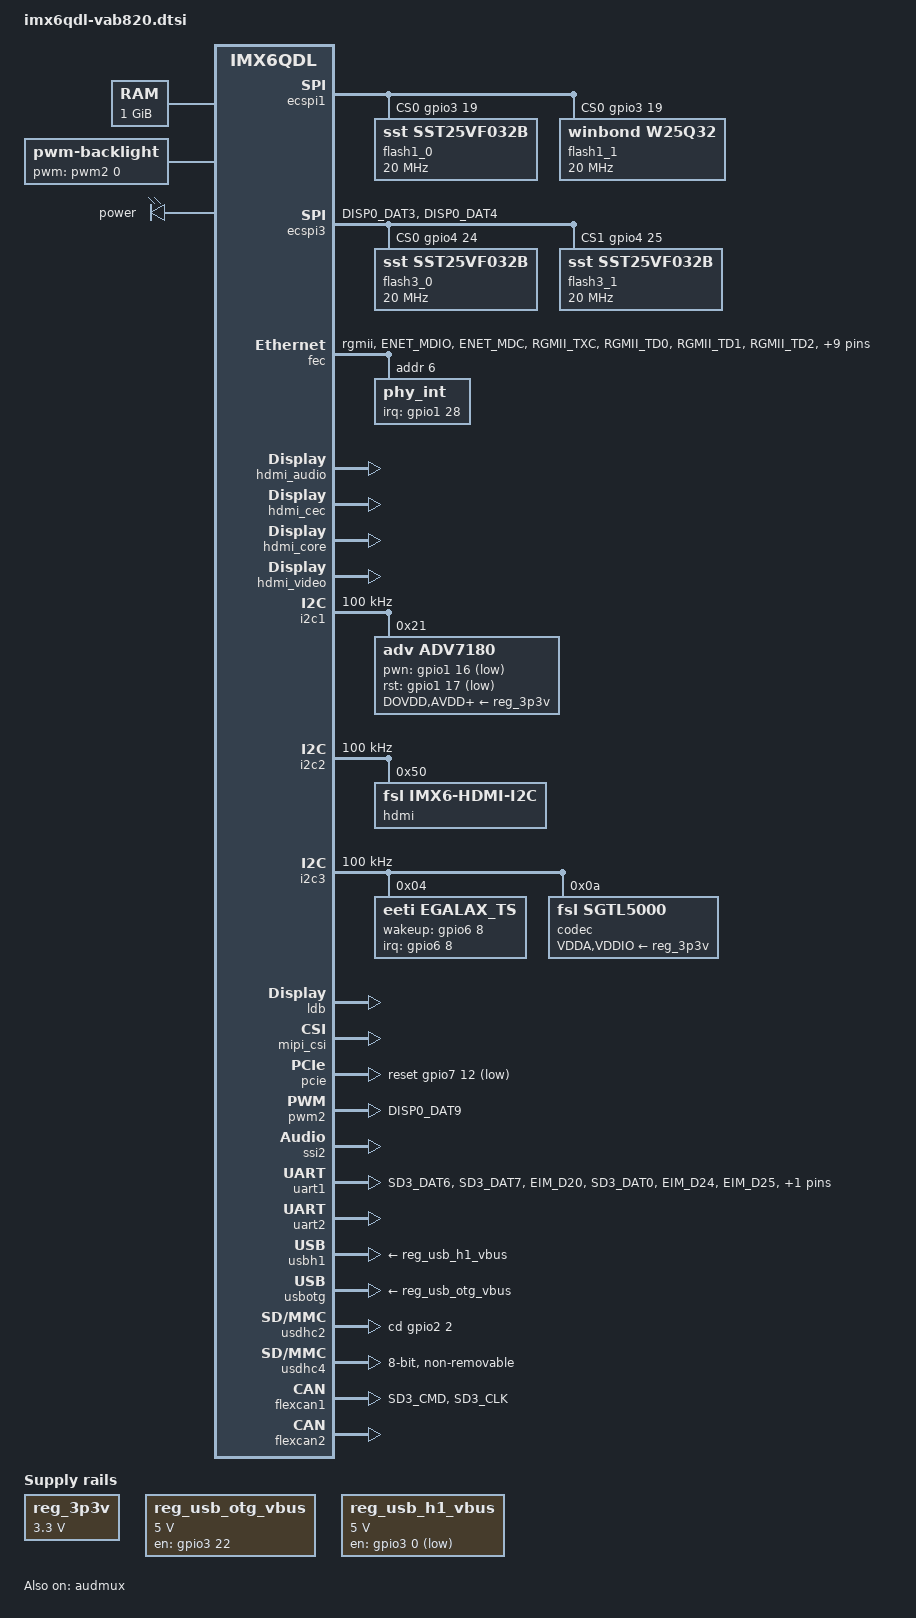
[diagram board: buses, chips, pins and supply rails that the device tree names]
/*
 * Copyright 2012 Freescale Semiconductor, Inc.
 * Copyright 2011 Linaro Ltd.
 *
 * The code contained herein is licensed under the GNU General Public
 * License. You may obtain a copy of the GNU General Public License
 * Version 2 or later at the following locations:
 *
 * http://www.opensource.org/licenses/gpl-license.html
 * http://www.gnu.org/copyleft/gpl.html
 */

#include <dt-bindings/interrupt-controller/irq.h>

/ {
	aliases {
		mmc0 = &usdhc4;
		mmc1 = &usdhc2;
		mxcfb0 = &mxcfb1;
		mxcfb1 = &mxcfb2;
		mxcfb2 = &mxcfb3;
		mxcfb3 = &mxcfb4;
	};

	memory {
		reg = <0x10000000 0x40000000>;
	};

	hannstar_cabc {
		compatible = "hannstar,cabc";

		lvds0 {
			gpios = <&gpio6 15 GPIO_ACTIVE_HIGH>;
		};
	};

	regulators {
		compatible = "simple-bus";

		reg_3p3v: 3p3v {
			compatible = "regulator-fixed";
			regulator-name = "3P3V";
			regulator-min-microvolt = <3300000>;
			regulator-max-microvolt = <3300000>;
			regulator-always-on;
		};

		reg_usb_otg_vbus: usb_otg_vbus {
			compatible = "regulator-fixed";
			regulator-name = "usb_otg_vbus";
			regulator-min-microvolt = <5000000>;
			regulator-max-microvolt = <5000000>;
			gpio = <&gpio3 22 0>;
			enable-active-high;
		};

		reg_usb_h1_vbus: usb_h1_vbus {
			compatible = "regulator-fixed";
			regulator-name = "usb_h1_vbus";
			regulator-min-microvolt = <5000000>;
			regulator-max-microvolt = <5000000>;
			gpio = <&gpio3 0 1>; /* VAB-820 - low enable*/ 

			/* SDB - high enable
			gpio = <&gpio1 29 0>;
			enable-active-high; */
		};
	}; 

	/* VAB-820 - copied from imx6q-sabrelite.dts */
	sound {
		compatible = "fsl,imx6q-vab820-sgtl5000",
			     "fsl,imx-audio-sgtl5000";
		model = "imx6q-vab820-sgtl5000";
		ssi-controller = <&ssi2>;
		audio-codec = <&codec>;
		audio-routing =
			"MIC_IN", "Mic Jack",
			"Mic Jack", "Mic Bias",
			"Headphone Jack", "HP_OUT";
		mux-int-port = <2>;
		mux-ext-port = <4>;
	};

	sound-hdmi {
		compatible = "fsl,imx6q-audio-hdmi",
			     "fsl,imx-audio-hdmi";
		model = "imx-audio-hdmi";
		hdmi-controller = <&hdmi_audio>;
	};

	mxcfb1: fb@0 {
		compatible = "fsl,mxc_sdc_fb";
		disp_dev = "lcd";
		interface_pix_fmt = "RGB666";
		mode_str ="LDB-XGA";
		default_bpp = <16>;
		int_clk = <0>;
		late_init = <0>;
		status = "disabled";
	};

	mxcfb2: fb@1 {
		compatible = "fsl,mxc_sdc_fb";
		disp_dev = "lcd";
		interface_pix_fmt = "RGB565";
		mode_str ="CLAA-WVGA";
		default_bpp = <16>;
		int_clk = <0>;
		late_init = <0>;
		status = "disabled";
	};

	mxcfb3: fb@2 {
		compatible = "fsl,mxc_sdc_fb";
		disp_dev = "lcd";
		interface_pix_fmt = "RGB666";
		mode_str ="LDB-SVGA";
		default_bpp = <16>;
		int_clk = <0>;
		late_init = <0>;
		status = "disabled";
	};

	mxcfb4: fb@3 {
		compatible = "fsl,mxc_sdc_fb";
		disp_dev = "lcd";
		interface_pix_fmt = "RGB666";
		mode_str ="LDB-VGA";
		default_bpp = <16>;
		int_clk = <0>;
		late_init = <0>;
		status = "disabled";
	};

	backlight {
		compatible = "pwm-backlight";
		pwms = <&pwm2 0 5000000>; /*VAB-820*/  /*SDB - <&pwm1 0 5000000>;*/
		brightness-levels = <0 4 8 16 32 64 128 255>;
		default-brightness-level = <7>;
	};

	v4l2_cap_0 {
		compatible = "fsl,imx6q-v4l2-capture";
		ipu_id = <0>;
		csi_id = <0>;
		mclk_source = <0>;
		status = "okay";
	};

	v4l2_cap_1 {
		compatible = "fsl,imx6q-v4l2-capture";
		ipu_id = <0>;
		csi_id = <1>;
		mclk_source = <0>;
		status = "okay";
	};

	v4l2_out {
		compatible = "fsl,mxc_v4l2_output";
		status = "okay";
	};

	leds {
		compatible = "gpio-leds";
		power {
			power-led-gpio = <&gpio4 5 0>;
		};
	};

};

&audmux {
	pinctrl-names = "default";
	pinctrl-0 = <&pinctrl_audmux_4>; /*VAB-820*/  /*SDB - <&pinctrl_audmux_2>;*/
	status = "okay";
};

/*VAB-820*/
#if 0
&cpu0 { 
	arm-supply = <&sw1a_reg>;
	soc-supply = <&sw1c_reg>;
	pu-supply = <&pu_dummy>; /* use pu_dummy if VDDSOC share with VDDPU */
};
#endif

&ecspi1 {
	fsl,spi-num-chipselects = <1>;
	cs-gpios = <&gpio3 19 0>; 	 /*VAB-820*/  /*SDB - <&gpio4 9 0>;*/
	pinctrl-names = "default";
	pinctrl-0 = <&pinctrl_ecspi1_1 &pinctrl_ecspi1_cs_1>; /*VAB-820 - copied from imx6qdl-sabreauto.dtsi*/  
							      /*SDB-<&pinctrl_ecspi1_2>;*/
	status = "okay";

	flash1_0: m25p80@0 {
		#address-cells = <1>;
		#size-cells = <1>;
		compatible = "sst,sst25vf032b"; /*VAB-820*/  /*SDB - "st,m25p32";*/
		spi-max-frequency = <20000000>;
		reg = <0>;
	};

	flash1_1: m25p80@0 {
		#address-cells = <1>;
		#size-cells = <1>;
		compatible = "winbond,w25q32";
		spi-max-frequency = <20000000>;
		reg = <0>; /*Chip-Select number*/
	};

};

/*VAB-820*/
#if 1
&ecspi3 {
	fsl,spi-num-chipselects = <2>;
	cs-gpios = <&gpio4 24 0>, <&gpio4 25 0>;
	pinctrl-names = "default";
	pinctrl-0 = <&pinctrl_ecspi3_1 &pinctrl_ecspi3_cs_1 &pinctrl_ecspi3_cs_2>;
	status = "okay";

	flash3_0: m25p80@0 {
		#address-cells = <1>;
		#size-cells = <1>;
		compatible = "sst,sst25vf032b";
		spi-max-frequency = <20000000>;
		reg = <0>; /*Chip-Select number*/
	};

	flash3_1: m25p80@1 {
		#address-cells = <1>;
		#size-cells = <1>;
		compatible = "sst,sst25vf032b";
		spi-max-frequency = <20000000>;
		reg = <1>; /*Chip-Select number*/
	};

};
#endif

#if 0
&fec {
	pinctrl-names = "default";
	pinctrl-0 = <&pinctrl_enet_3>;   /*VAB-820*/  /*SDB - <&pinctrl_enet_1>;*/
	phy-mode = "rgmii";
	phy-reset-gpios = <&gpio1 28 0>; /*VAB-820*/
	status = "okay";
};
#endif
/* VAB-820 : copied from Boundary's SabreLite  */
&fec {
	pinctrl-names = "default";
	pinctrl-0 = <&pinctrl_enet_4>;
	phy-mode = "rgmii";
	status = "okay";

	#address-cells = <0>;
	#size-cells = <1>;

	phy_int {
		reg = <0x6>;
		interrupt-parent = <&gpio1>;
		interrupts = <28 IRQ_TYPE_LEVEL_LOW>;
	};
};

&hdmi_audio {
	status = "okay";
};

&hdmi_cec {
	pinctrl-names = "default";
	pinctrl-0 = <&pinctrl_hdmi_cec_2>;
	status = "okay";
};

&hdmi_core {
	ipu_id = <0>;
	disp_id = <0>;
	status = "okay";
};

&hdmi_video {
	fsl,phy_reg_vlev = <0x0294>;
	fsl,phy_reg_cksymtx = <0x800d>;
	status = "okay";
};

&i2c1 {
	clock-frequency = <100000>;
	pinctrl-names = "default";
	pinctrl-0 = <&pinctrl_i2c1_2>;
	status = "okay";

	/* VAB-820 - copied from imx6qdl-sabreauto.dtsi */
	adv7180: adv7180@21 {
		compatible = "adv,adv7180";
		reg = <0x21>;
		pinctrl-names = "default";
		pinctrl-0 = <&pinctrl_ipu1_4>; /*VAB-820*/  /*AI - <&pinctrl_ipu1_3>;*/
		clocks = <&clks 201>;
		clock-names = "csi_mclk";
		DOVDD-supply = <&reg_3p3v>; /* 3.3v, enabled via 2.8 VGEN6 */
		AVDD-supply = <&reg_3p3v>;  /* 1.8v */
		DVDD-supply = <&reg_3p3v>;  /* 1.8v */
		PVDD-supply = <&reg_3p3v>;  /* 1.8v */
		pwn-gpios = <&gpio1 16 GPIO_ACTIVE_LOW>; /*VAB-820*/  /*AI - <&max7310_b 2 0>;*/
		rst-gpios = <&gpio1 17 GPIO_ACTIVE_LOW>; /*VAB-820*/
		csi_id = <0>;
		mclk = <24000000>;
		mclk_source = <0>;
		cvbs = <1>;
	};

};

&i2c2 {
	clock-frequency = <100000>;
	pinctrl-names = "default";
	pinctrl-0 = <&pinctrl_i2c2_2>;
	status = "okay";

	hdmi: edid@50 {
		compatible = "fsl,imx6-hdmi-i2c";
		reg = <0x50>;
	};
};

&i2c3 {
        clock-frequency = <100000>;
        pinctrl-names = "default";
        pinctrl-0 = <&pinctrl_i2c3_2>;
        status = "okay";

        egalax_ts@04 {
                compatible = "eeti,egalax_ts";
                reg = <0x04>;
                interrupt-parent = <&gpio6>;
                interrupts = <8 2>;
                wakeup-gpios = <&gpio6 8 0>;
        };

	/*VAB-820 - copied from imx6q-sabrelite.dts*/
	codec: sgtl5000@0a {
		compatible = "fsl,sgtl5000";
		reg = <0x0a>;
		clocks = <&clks 201>;
		VDDA-supply = <&reg_3p3v>;/*VAB-820*/ /*SBL - <&reg_2p5v>;*/
		VDDIO-supply = <&reg_3p3v>;
	};
};


&ldb {
	ipu_id = <1>;
	disp_id = <0>;
	ext_ref = <1>;
	mode = "sep0";
	sec_ipu_id = <1>;
	sec_disp_id = <1>;
	status = "okay";
};

&mipi_csi {
	status = "okay";
	ipu_id = <0>;
	csi_id = <1>;
	v_channel = <0>;
	lanes = <2>;
};

&pcie {
	power-on-gpio = <&gpio1 19 0>; /*VAB-820*/  /*SDB - <&gpio3 19 0>;*/
	reset-gpio = <&gpio7 12 GPIO_ACTIVE_LOW>;
	wake-up-gpio = <&gpio5 20 GPIO_ACTIVE_LOW>;
	disable-gpio = <&gpio4 9 0>;
	status = "okay";
};

&pwm2 {
	pinctrl-names = "default";
	pinctrl-0 = <&pinctrl_pwm2_1>;
	status = "okay";
};

&ssi2 {
	fsl,mode = "i2s-slave";
	status = "okay";
};


&uart1 {
	pinctrl-names = "default";
	pinctrl-0 = <&pinctrl_uart1_vab820>;
	status = "okay";
	fsl,uart-has-rtscts;
	fsl,dte-mode;
};


&uart2 { 
	pinctrl-names = "default";
	pinctrl-0 = <&pinctrl_uart2_1>;
	status = "okay";
}; 


&usbh1 {
	vbus-supply = <&reg_usb_h1_vbus>;
	pinctrl-1 = <&pinctrl_usbh1_1>;
	status = "okay";
};

&usbotg {
	vbus-supply = <&reg_usb_otg_vbus>;
	pinctrl-names = "default";
	pinctrl-0 = <&pinctrl_usbotg_2>;
	disable-over-current;
	status = "okay";
};

&usdhc2 {
	pinctrl-names = "default";
	pinctrl-0 = <&pinctrl_usdhc2_2>;  /* VAB-820 */ /*pinctrl-0 = <&pinctrl_usdhc2_1>;*/
	cd-gpios = <&gpio2 2 0>;
	/*SDB - wp-gpios = <&gpio2 3 0>;*/
	no-1-8-v;
	keep-power-in-suspend;
	enable-sdio-wakeup;
	status = "okay";
};

&usdhc4 {
        pinctrl-names = "default";
        pinctrl-0 = <&pinctrl_usdhc4_1>;
        bus-width = <8>;
        non-removable;
        no-1-8-v;
	keep-power-in-suspend;
        status = "okay";
};

&flexcan1 {
	pinctrl-names = "default";
	pinctrl-0 = <&pinctrl_flexcan1_vab820>;
	status = "okay";
};

&flexcan2 {
	pinctrl-names = "default";
	pinctrl-0 = <&pinctrl_flexcan2_1>;
	status = "okay";
};


&iomuxc {
	pinctrl-names = "default";
	pinctrl-0 = <&pinctrl_hog_1>;

	uart1 {
		pinctrl_uart1_vab820: uart1grp-2 {
			fsl,pins = <
				MX6QDL_PAD_SD3_DAT6__UART1_TX_DATA 0x80000000
				MX6QDL_PAD_SD3_DAT7__UART1_RX_DATA 0x80000000
				MX6QDL_PAD_EIM_D20__UART1_CTS_B	0x80000000
				MX6QDL_PAD_SD3_DAT0__UART1_RTS_B 0x130b0
				MX6QDL_PAD_EIM_D24__UART1_DTR_B 0x130b0
				MX6QDL_PAD_EIM_D25__UART1_DSR_B 0x80000000
				MX6QDL_PAD_EIM_D23__UART1_DCD_B 0x80000000
				//MX6QDL_PAD_EIM_EB3__UART1_RI_B 0x80000000
			>;
		};
	};

	flexcan1 {
		pinctrl_flexcan1_vab820: flexcan1grp-3 {
			fsl,pins = <
				MX6QDL_PAD_SD3_CMD__FLEXCAN1_TX 0x80000000
				MX6QDL_PAD_SD3_CLK__FLEXCAN1_RX 0x80000000
			>;
		};
	};

	hog {
		pinctrl_hog_1: hoggrp-1 {
			fsl,pins = <
				MX6QDL_PAD_GPIO_1__GPIO1_IO01   0x80000000
				MX6QDL_PAD_GPIO_2__GPIO1_IO02   0x80000000
				MX6QDL_PAD_GPIO_4__GPIO1_IO04	0x80000000
				MX6QDL_PAD_GPIO_5__GPIO1_IO05	0x80000000
				MX6QDL_PAD_GPIO_7__GPIO1_IO07	0x80000000
				MX6QDL_PAD_GPIO_8__GPIO1_IO08	0x80000000
				MX6QDL_PAD_GPIO_9__GPIO1_IO09	0x80000000
				MX6QDL_PAD_SD1_DAT0__GPIO1_IO16 0x80000000
				MX6QDL_PAD_SD1_DAT1__GPIO1_IO17 0x80000000
				/*MX6QDL_PAD_SD1_DAT2__GPIO1_IO19 0x80000000	/*MX6Q_SABRELITE_PCIE_CSI_PWN*/
				MX6QDL_PAD_ENET_TX_EN__GPIO1_IO28 0x1b0b0 	/* ethernet phy interrupt - copied from boundary */
				MX6QDL_PAD_NANDF_D2__GPIO2_IO02 0x80000000

				MX6QDL_PAD_EIM_DA0__GPIO3_IO00  0x80000000
				/*MX6QDL_PAD_EIM_D19__GPIO3_IO19  0x80000000*/ 	/*defined in &pinctrl_ecspi1_cs_1*/
				MX6QDL_PAD_EIM_D22__GPIO3_IO22  0x80000000
				MX6QDL_PAD_EIM_D28__GPIO3_IO28  0x80000000
				MX6QDL_PAD_GPIO_19__GPIO4_IO05  0x80000000
				/*MX6QDL_PAD_KEY_ROW1__GPIO4_IO09 0x80000000	/*MX6Q_SABRELITE_PCIE_DIS_B*/
				/*MX6QDL_PAD_DISP0_DAT3__GPIO4_IO24 0x80000000  /*MX6QDL_PAD_DISP0_DAT3__ECSPI3_SS0 ????*/
				/*MX6QDL_PAD_DISP0_DAT4__GPIO4_IO25 0x80000000  /*MX6QDL_PAD_DISP0_DAT4__ECSPI3_SS1 ????*/

				/*MX6QDL_PAD_CSI0_DATA_EN__GPIO5_IO20 0x80000000/*MX6Q_SABRELITE_PCIE_WAKE_B*/
				MX6QDL_PAD_NANDF_ALE__GPIO6_IO08 0x80000000

				MX6QDL_PAD_NANDF_CS2__GPIO6_IO15 0x80000000
				MX6QDL_PAD_GPIO_16__GPIO7_IO11   0x80000000
				/*MX6QDL_PAD_GPIO_17__GPIO7_IO12  0x80000000	/*MX6Q_SABRELITE_PCIE_RST_B*/
				MX6QDL_PAD_GPIO_18__GPIO7_IO13 0x80000000

				MX6QDL_PAD_GPIO_0__CCM_CLKO1 0x000b0 		/* SGTL5000 sys_mclk : copied from boundary */
			>;
		};
	};

	ecspi3 {
		pinctrl_ecspi3_cs_1: ecspi3_cs_grp-1 {
			fsl,pins = <
				MX6QDL_PAD_DISP0_DAT3__GPIO4_IO24 0x80000000
			>;
		};

		pinctrl_ecspi3_cs_2: ecspi3_cs_grp-2 {
			fsl,pins = <
				MX6QDL_PAD_DISP0_DAT4__GPIO4_IO25 0x80000000
			>;
		};
	};

	audmux {
		/* VAB-820 */
		pinctrl_audmux_4: audmux-4 {
			fsl,pins = <
				MX6QDL_PAD_DISP0_DAT20__AUD4_TXC  0x130b0
				MX6QDL_PAD_DISP0_DAT21__AUD4_TXD  0x110b0
				MX6QDL_PAD_DISP0_DAT22__AUD4_TXFS 0x130b0
				MX6QDL_PAD_DISP0_DAT23__AUD4_RXD  0x130b0
			>;
		};
	};

	enet {
		/* VAB-820 - remove ENET_TX_EN pin, set it as GPIO instead */
		pinctrl_enet_4: enetgrp-4 {
			fsl,pins = <
				MX6QDL_PAD_ENET_MDIO__ENET_MDIO       0x1b0b0
				MX6QDL_PAD_ENET_MDC__ENET_MDC         0x1b0b0
				MX6QDL_PAD_RGMII_TXC__RGMII_TXC       0x1b0b0
				MX6QDL_PAD_RGMII_TD0__RGMII_TD0       0x1b0b0
				MX6QDL_PAD_RGMII_TD1__RGMII_TD1       0x1b0b0
				MX6QDL_PAD_RGMII_TD2__RGMII_TD2       0x1b0b0
				MX6QDL_PAD_RGMII_TD3__RGMII_TD3       0x1b0b0
				MX6QDL_PAD_RGMII_TX_CTL__RGMII_TX_CTL 0x1b0b0
				MX6QDL_PAD_ENET_REF_CLK__ENET_TX_CLK  0x1b0b0
				MX6QDL_PAD_RGMII_RXC__RGMII_RXC       0x1b0b0
				MX6QDL_PAD_RGMII_RD0__RGMII_RD0       0x1b0b0
				MX6QDL_PAD_RGMII_RD1__RGMII_RD1       0x1b0b0
				MX6QDL_PAD_RGMII_RD2__RGMII_RD2       0x1b0b0
				MX6QDL_PAD_RGMII_RD3__RGMII_RD3       0x1b0b0
				MX6QDL_PAD_RGMII_RX_CTL__RGMII_RX_CTL 0x1b0b0
			>;
		};
	};

	ipu1 {
		pinctrl_ipu1_4: ipu1grp-4 { /* VAB-820 - parallel camera, remove CSI0_DATA_EN */
			fsl,pins = <
				MX6QDL_PAD_CSI0_DAT12__IPU1_CSI0_DATA12    0x80000000
				MX6QDL_PAD_CSI0_DAT13__IPU1_CSI0_DATA13    0x80000000
				MX6QDL_PAD_CSI0_DAT14__IPU1_CSI0_DATA14    0x80000000
				MX6QDL_PAD_CSI0_DAT15__IPU1_CSI0_DATA15    0x80000000
				MX6QDL_PAD_CSI0_DAT16__IPU1_CSI0_DATA16    0x80000000
				MX6QDL_PAD_CSI0_DAT17__IPU1_CSI0_DATA17    0x80000000
				MX6QDL_PAD_CSI0_DAT18__IPU1_CSI0_DATA18    0x80000000
				MX6QDL_PAD_CSI0_DAT19__IPU1_CSI0_DATA19    0x80000000
				MX6QDL_PAD_CSI0_PIXCLK__IPU1_CSI0_PIXCLK   0x80000000
				MX6QDL_PAD_CSI0_MCLK__IPU1_CSI0_HSYNC      0x80000000
				MX6QDL_PAD_CSI0_VSYNC__IPU1_CSI0_VSYNC     0x80000000
			>;
		};
	};

	pwm2 {
		pinctrl_pwm2_1: pwm2grp-1 {
			fsl,pins = <
				MX6QDL_PAD_DISP0_DAT9__PWM2_OUT 0x1b0b1
			>;
		};
	};


	usbh1 {
		pinctrl_usbh1_1: usbh1grp-1 {
			fsl,pins = <
				MX6QDL_PAD_EIM_D30__USB_H1_OC      0x80000000
			>;
		};
	};
};
